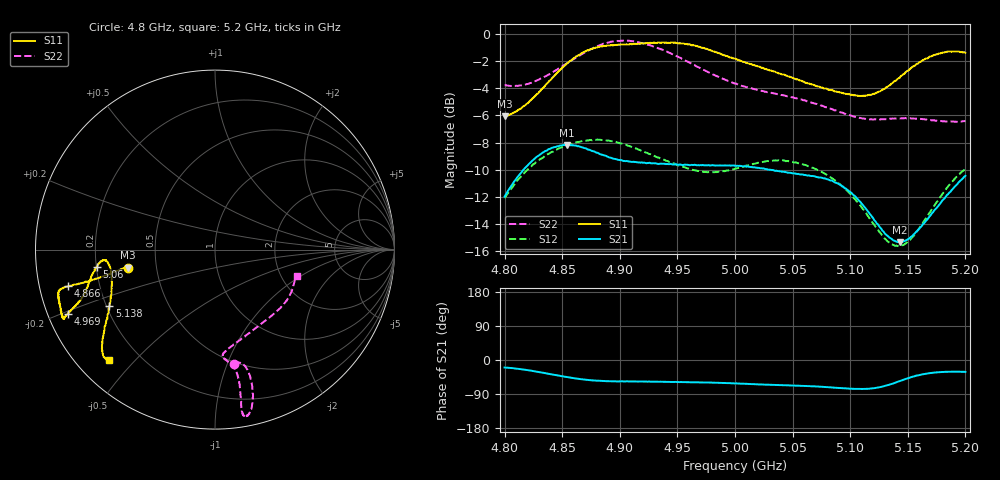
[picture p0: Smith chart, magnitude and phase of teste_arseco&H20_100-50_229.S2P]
! Network Analyzer HP8722D
! Hewlett-Packard
! Data name: Linha & Wilkinson
! Saver's name: Rodrigo Anjos
! Comments: Teste da utilização de aquisição
! continua pelo VNA HP8722D
! Time and date: 6/5/2025 14:28
!  Frequency  S11  S21  S12  S22
# HZ  S  MA R 50
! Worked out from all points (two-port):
!   401 points, 4.8 GHz to 5.2 GHz, reference 50 ohm
!   highest |S21| = -8.16 dB at 4.854 GHz (marker M1); lowest = -15.3 dB at 5.143 GHz (marker M2)
!   |S21| within 3 dB of the highest: 4.806 GHz to 5.092 GHz (286.4 MHz wide, 5.79 % of centre); 5.191652 GHz to end of sweep
!   lowest |S11| = -6.1 dB at 4.8 GHz (marker M3), VSWR 2.98, Z = 17 - j4.55 ohm
!   |S11| at or under -10 dB: nowhere
!   |S22| runs from -6.5 to -0.5 dB; largest |S21 - S12| = 0.62
!   S11 on the Smith chart (normalised r, x): 4.8 GHz: 0.34, -0.09; 4.866 GHz: 0.09, -0.12; 4.969 GHz: 0.06, -0.21; 5.06 GHz: 0.20, -0.07; 5.138 GHz: 0.21, -0.24; 5.2 GHz: 0.09, -0.42
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4.8e9  0.4971 -168.3  0.2522 -19.8  0.249 -140.9  0.6469 -80.3
4.826e9  0.5882 -167.3  0.3475 -29.8  0.3331 -144.6  0.669 -75.6
4.854e9  0.7768 -165.9  0.3906 -45.1  0.3887 -150.0  0.7795 -74.7
4.866e9  0.844 -166.0  0.3836 -50.4  0.4022 -152.0  0.8372 -75.4
4.867e9  0.8497 -165.9  0.3827 -50.9  0.403 -152.1  0.8433 -75.4
4.883e9  0.8978 -165.3  0.3609 -55.1  0.408 -154.8  0.9106 -77.1
4.902e9  0.9135 -162.4  0.3424 -56.4  0.3948 -156.9  0.9432 -79.4
4.934e9  0.9294 -156.5  0.3324 -57.6  0.3508 -155.7  0.8829 -80.5
4.969e9  0.8954 -156.4  0.3285 -59.1  0.3124 -147.4  0.7513 -79.7
5e9  0.8109 -159.0  0.3275 -61.8  0.3195 -137.3  0.6562 -81.3
5.034e9  0.7269 -165.3  0.3144 -65.9  0.3422 -134.3  0.6038 -85.6
5.06e9  0.6665 -171.7  0.3027 -68.2  0.3302 -136.2  0.5703 -84.3
5.067e9  0.6517 -173.0  0.3002 -69.2  0.322 -136.9  0.558 -82.7
5.086e9  0.615 -174.5  0.2853 -72.8  0.2907 -138.5  0.5238 -75.2
5.101e9  0.5973 -172.1  0.2605 -76.0  0.255 -138.9  0.5005 -66.4
5.116e9  0.5967 -165.3  0.2209 -75.9  0.2121 -135.5  0.4855 -55.7
5.134e9  0.6457 -154.3  0.1783 -65.1  0.1709 -120.6  0.4874 -43.4
5.138e9  0.6675 -151.9  0.1737 -61.1  0.167 -115.6  0.4879 -40.9
5.143e9  0.6903 -149.3  0.1714 -55.7  0.1657 -109.0  0.4885 -38.0
5.154e9  0.7563 -144.4  0.1806 -44.3  0.1789 -94.9  0.4881 -32.3
5.174e9  0.8394 -138.6  0.2267 -32.8  0.2369 -80.4  0.4793 -23.9
5.2e9  0.8518 -133.7  0.3007 -31.5  0.3194 -77.0  0.4777 -17.6
